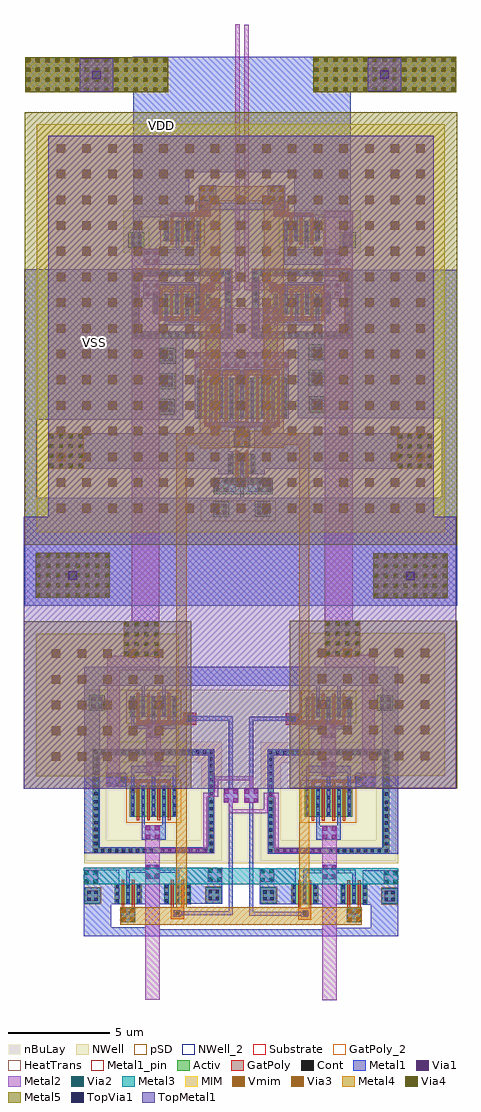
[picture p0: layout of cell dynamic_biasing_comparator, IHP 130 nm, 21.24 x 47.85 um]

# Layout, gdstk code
from math import pi, radians
import gdstk
lib = gdstk.Library(unit=1e-6, precision=1e-09)
def R(c, l, rs):  # rectangles x0, y0, x1, y1
    for r in rs: c.add(gdstk.rectangle(r[:2], r[2:], *l))
def A(c, l, x, y, w, h, nx, ny, dx, dy):  # array of equal rectangles
    R(c, l, [(x+i*dx, y+j*dy, x+i*dx+w, y+j*dy+h) for i in range(nx) for j in range(ny)])
def P(c, l, *ps):  # polygons
    for p in ps: c.add(gdstk.Polygon(p, *l))
Activ = (1, 0)
GatPoly = (5, 0)
GatPoly_2 = (5, 2)
Cont = (6, 0)
Metal1 = (8, 0)
Metal1_pin = (8, 2)
Metal2 = (10, 0)
pSD = (14, 0)
Via1 = (19, 0)
Via2 = (29, 0)
Metal3 = (30, 0)
NWell = (31, 0)
NWell_2 = (31, 2)
nBuLay = (32, 0)
MIM = (36, 0)
Substrate = (40, 0)
Via3 = (49, 0)
Metal4 = (50, 0)
HeatTrans = (51, 0)
Via4 = (66, 0)
Metal5 = (67, 0)
TopVia1 = (125, 0)
TopMetal1 = (126, 0)
Vmim = (129, 0)

cmim = lib.new_cell('cmim')
R(cmim, MIM, [(0,0,20,20)])
R(cmim, Metal5, [(-0.6,-0.6,20.6,20.6)])
R(cmim, TopMetal1, [(0.55,0.55,19.45,19.45)])
A(cmim, Vmim, 0.97, 0.97, 0.42, 0.42, 15, 15, 1.26, 1.26)

nmos_4 = lib.new_cell('nmos$4')
A(nmos_4, Activ, 0, 0, 0.3, 0.3, 9, 1, 0.51, 0)
R(nmos_4, Activ, [(0,0,4.38,2)])
A(nmos_4, GatPoly, 0.34, -0.18, 0.13, 2.36, 8, 1, 0.51, 0)
R(nmos_4, GatPoly_2, [(0.34,-0.18,0.47,2.18)])
A(nmos_4, Cont, 0.07, 0.07, 0.16, 0.16, 9, 6, 0.51, 0.34)
A(nmos_4, Metal1, 0.07, 0, 0.16, 2, 9, 1, 0.51, 0)
R(nmos_4, Metal1_pin, [(0.07,0,0.23,2), (0.58,0,0.74,2)])
A(nmos_4, HeatTrans, 0.34, -0.18, 0.13, 2.36, 8, 1, 0.51, 0)
nmos_4.add(gdstk.Label('nmos', (0.405,1), layer=63, texttype=0))
nmos_4.add(gdstk.Label('nmos', (0.405,1), layer=51, texttype=0))
nmos_4.add(gdstk.Label('nmos', (0.915,1), layer=51, texttype=0))
nmos_4.add(gdstk.Label('nmos', (1.425,1), layer=51, texttype=0))
nmos_4.add(gdstk.Label('nmos', (1.935,1), layer=51, texttype=0))
nmos_4.add(gdstk.Label('nmos', (2.445,1), layer=51, texttype=0))
nmos_4.add(gdstk.Label('nmos', (2.955,1), layer=51, texttype=0))
nmos_4.add(gdstk.Label('nmos', (3.465,1), layer=51, texttype=0))
nmos_4.add(gdstk.Label('nmos', (3.975,1), layer=51, texttype=0))

via_stack_14 = lib.new_cell('via_stack$14')
R(via_stack_14, Metal1, [(-0.35,-0.35,0.35,0.35)])
R(via_stack_14, Metal2, [(-0.35,-0.35,0.35,0.35)])
R(via_stack_14, Via1, [(-0.3,-0.3,-0.11,-0.11), (0.11,-0.3,0.3,-0.11), (-0.3,0.11,-0.11,0.3), (0.11,0.11,0.3,0.3)])
R(via_stack_14, Via2, [(-0.3,-0.3,-0.11,-0.11), (0.11,-0.3,0.3,-0.11), (-0.3,0.11,-0.11,0.3), (0.11,0.11,0.3,0.3)])
R(via_stack_14, Metal3, [(-0.35,-0.35,0.35,0.35)])

nmos = lib.new_cell('nmos')
A(nmos, Activ, 0, 0, 0.3, 0.3, 3, 1, 0.51, 0)
R(nmos, Activ, [(0,0,1.32,1)])
R(nmos, GatPoly, [(0.34,-0.18,0.47,1.18), (0.85,-0.18,0.98,1.18)])
R(nmos, GatPoly_2, [(0.34,-0.18,0.47,1.18)])
A(nmos, Cont, 0.07, 0.07, 0.16, 0.16, 3, 3, 0.51, 0.35)
A(nmos, Metal1, 0.07, 0, 0.16, 1, 3, 1, 0.51, 0)
R(nmos, Metal1_pin, [(0.07,0,0.23,1), (0.58,0,0.74,1)])
R(nmos, HeatTrans, [(0.34,-0.18,0.47,1.18), (0.85,-0.18,0.98,1.18)])
nmos.add(gdstk.Label('nmos', (0.405,0.5), layer=63, texttype=0))
nmos.add(gdstk.Label('nmos', (0.405,0.5), layer=51, texttype=0))
nmos.add(gdstk.Label('nmos', (0.915,0.5), layer=51, texttype=0))

via_stack_5 = lib.new_cell('via_stack$5')
R(via_stack_5, Metal1, [(-2.305,-0.385,2.305,0.385)])
R(via_stack_5, Metal2, [(-2.305,-0.385,2.305,0.385)])
A(via_stack_5, Via1, -2.255, -0.335, 0.19, 0.19, 10, 2, 0.48, 0.48)

via_stack_8 = lib.new_cell('via_stack$8')
R(via_stack_8, Metal1, [(-0.35,-0.35,0.35,0.35)])
R(via_stack_8, Metal2, [(-0.35,-0.35,0.35,0.35)])
R(via_stack_8, Via1, [(-0.3,-0.3,-0.11,-0.11), (0.11,-0.3,0.3,-0.11), (-0.3,0.11,-0.11,0.3), (0.11,0.11,0.3,0.3)])
R(via_stack_8, Via2, [(-0.3,-0.3,-0.11,-0.11), (0.11,-0.3,0.3,-0.11), (-0.3,0.11,-0.11,0.3), (0.11,0.11,0.3,0.3)])
R(via_stack_8, Metal3, [(-0.35,-0.35,0.35,0.35)])
R(via_stack_8, Via3, [(-0.3,-0.3,-0.11,-0.11), (0.11,-0.3,0.3,-0.11), (-0.3,0.11,-0.11,0.3), (0.11,0.11,0.3,0.3)])
R(via_stack_8, Metal4, [(-0.35,-0.35,0.35,0.35)])

via_stack = lib.new_cell('via_stack')
R(via_stack, Metal1, [(-0.35,-0.35,0.35,0.35)])
R(via_stack, Metal2, [(-0.35,-0.35,0.35,0.35)])
R(via_stack, Via1, [(-0.3,-0.3,-0.11,-0.11), (0.11,-0.3,0.3,-0.11), (-0.3,0.11,-0.11,0.3), (0.11,0.11,0.3,0.3)])

ntap1 = lib.new_cell('ntap1')
R(ntap1, Activ, [(0,0,0.78,0.78)])
R(ntap1, Cont, [(0.14,0.14,0.3,0.3), (0.48,0.14,0.64,0.3), (0.14,0.48,0.3,0.64), (0.48,0.48,0.64,0.64)])
R(ntap1, Metal1, [(0.14,0.09,0.64,0.69)])
R(ntap1, Metal1_pin, [(0.14,0.09,0.64,0.69), (0.14,0.14,0.64,0.64)])
R(ntap1, NWell, [(-0.24,-0.24,1.02,1.02), (0,0,0.78,0.78)])
R(ntap1, NWell_2, [(0,0,0.78,0.78)])
R(ntap1, nBuLay, [(-0.24,-0.24,1.02,1.02)])
ntap1.add(gdstk.Label('well', (0.39,0.01), layer=63, texttype=0))
ntap1.add(gdstk.Label('well', (0.39,0.01), layer=31, texttype=0))

nmos_3 = lib.new_cell('nmos$3')
A(nmos_3, Activ, 0, 0, 0.3, 0.3, 6, 1, 0.51, 0)
R(nmos_3, Activ, [(-1,-0.88,-0.7,1.88), (3.55,-0.88,3.85,1.88), (0,0,2.85,1), (-1,1.88,3.85,2.18)])
P(nmos_3, Activ, [(-1,-1.18),(-1,1.88),(-0.7,1.88),(-0.7,-0.88),(3.55,-0.88),(3.55,1.88),(-1,1.88),(-1,2.18),(3.85,2.18),(3.85,-1.18)])
A(nmos_3, GatPoly, 0.34, -0.18, 0.13, 1.36, 5, 1, 0.51, 0)
R(nmos_3, GatPoly_2, [(0.34,-0.18,0.47,1.18)])
A(nmos_3, Cont, -0.93, -1.11, 0.16, 0.16, 7, 2, 0.34, 3.06)
A(nmos_3, Cont, 1.58, -1.11, 0.16, 0.16, 7, 2, 0.34, 3.06)
A(nmos_3, Cont, -0.93, -0.77, 0.16, 0.16, 1, 3, 0, 0.34)
A(nmos_3, Cont, 3.62, -0.77, 0.16, 0.16, 1, 3, 0, 0.34)
A(nmos_3, Cont, 0.07, 0.07, 0.16, 0.16, 6, 3, 0.51, 0.35)
A(nmos_3, Cont, -0.93, 0.59, 0.16, 0.16, 1, 4, 0, 0.34)
A(nmos_3, Cont, 3.62, 0.59, 0.16, 0.16, 1, 4, 0, 0.34)
A(nmos_3, Metal1, 0.07, 0, 0.16, 1, 6, 1, 0.51, 0)
R(nmos_3, Metal1, [(-1,-1.18,3.85,-0.88), (-1,-0.88,-0.7,1.88), (3.55,-0.88,3.85,1.88), (-1,1.88,3.85,2.18)])
R(nmos_3, Metal1_pin, [(0.07,0,0.23,1), (0.58,0,0.74,1)])
R(nmos_3, pSD, [(-1.03,-0.85,-0.67,1.85), (3.52,-0.85,3.88,1.85), (-1.03,1.85,3.88,2.21)])
P(nmos_3, pSD, [(-1.03,-1.21),(-1.03,1.85),(-0.67,1.85),(-0.67,-0.85),(3.52,-0.85),(3.52,1.85),(-1.03,1.85),(-1.03,2.21),(3.88,2.21),(3.88,-1.21)])
R(nmos_3, Substrate, [(-1.03,-0.85,-0.67,1.85), (3.52,-0.85,3.88,1.85), (-1.03,1.85,3.88,2.21)])
P(nmos_3, Substrate, [(-1.03,-1.21),(-1.03,1.85),(-0.67,1.85),(-0.67,-0.85),(3.52,-0.85),(3.52,1.85),(-1.03,1.85),(-1.03,2.21),(3.88,2.21),(3.88,-1.21)])
A(nmos_3, HeatTrans, 0.34, -0.18, 0.13, 1.36, 5, 1, 0.51, 0)
nmos_3.add(gdstk.Label('nmos', (0.405,0.5), layer=63, texttype=0))
nmos_3.add(gdstk.Label('sub!', (1.425,-1.03), layer=63, texttype=0))
nmos_3.add(gdstk.Label('nmos', (0.405,0.5), layer=51, texttype=0))
nmos_3.add(gdstk.Label('nmos', (0.915,0.5), layer=51, texttype=0))
nmos_3.add(gdstk.Label('nmos', (1.425,0.5), layer=51, texttype=0))
nmos_3.add(gdstk.Label('nmos', (1.935,0.5), layer=51, texttype=0))
nmos_3.add(gdstk.Label('nmos', (2.445,0.5), layer=51, texttype=0))

via_stack_1 = lib.new_cell('via_stack$1')
R(via_stack_1, Metal1, [(-0.145,-0.145,0.145,0.145)])
R(via_stack_1, Metal2, [(-0.145,-0.145,0.145,0.145)])
R(via_stack_1, Via1, [(-0.095,-0.095,0.095,0.095)])

pmos_4 = lib.new_cell('pmos$4')
A(pmos_4, Activ, 0, 0, 0.3, 0.3, 4, 1, 0.51, 0)
R(pmos_4, Activ, [(0,0,1.83,1)])
A(pmos_4, GatPoly, 0.34, -0.18, 0.13, 1.36, 3, 1, 0.51, 0)
R(pmos_4, GatPoly, [(0.34,-0.18,0.47,1.18)])
A(pmos_4, Cont, 0.07, 0.07, 0.16, 0.16, 4, 3, 0.51, 0.35)
A(pmos_4, Metal1, 0.58, 0, 0.16, 1, 3, 1, 0.51, 0)
R(pmos_4, Metal1, [(0.07,0,0.23,1), (0.07,0,0.23,1), (0.58,0,0.74,1)])
R(pmos_4, pSD, [(-0.18,-0.3,2.01,1.3)])
R(pmos_4, NWell, [(-0.31,-0.31,2.14,1.31)])
R(pmos_4, Substrate, [(1.53,0,1.83,0.3)])
A(pmos_4, HeatTrans, 0.34, -0.18, 0.13, 1.36, 3, 1, 0.51, 0)
pmos_4.add(gdstk.Label('pmos', (0.405,0.5), layer=63, texttype=0))
pmos_4.add(gdstk.Label('pmos', (0.405,0.5), layer=51, texttype=0))
pmos_4.add(gdstk.Label('pmos', (0.915,0.5), layer=51, texttype=0))
pmos_4.add(gdstk.Label('pmos', (1.425,0.5), layer=51, texttype=0))

via_stack_6 = lib.new_cell('via_stack$6')
R(via_stack_6, Metal1, [(-0.865,-0.865,0.865,0.865)])
R(via_stack_6, Metal2, [(-0.865,-0.865,0.865,0.865)])
A(via_stack_6, Via1, -0.815, -0.815, 0.19, 0.19, 4, 4, 0.48, 0.48)
A(via_stack_6, Via2, -0.815, -0.815, 0.19, 0.19, 4, 4, 0.48, 0.48)
R(via_stack_6, Metal3, [(-0.865,-0.865,0.865,0.865)])
A(via_stack_6, Via3, -0.815, -0.815, 0.19, 0.19, 4, 4, 0.48, 0.48)
R(via_stack_6, Metal4, [(-0.865,-0.865,0.865,0.865)])
A(via_stack_6, Via4, -0.815, -0.815, 0.19, 0.19, 4, 4, 0.48, 0.48)
R(via_stack_6, Metal5, [(-0.865,-0.865,0.865,0.865)])

via_stack_10 = lib.new_cell('via_stack$10')
R(via_stack_10, Metal1, [(-3.505,-0.865,3.505,0.865)])
R(via_stack_10, Metal2, [(-3.505,-0.865,3.505,0.865)])
A(via_stack_10, Via1, -3.455, -0.815, 0.19, 0.19, 15, 4, 0.48, 0.48)
A(via_stack_10, Via2, -3.455, -0.815, 0.19, 0.19, 15, 4, 0.48, 0.48)
R(via_stack_10, Metal3, [(-3.505,-0.865,3.505,0.865)])
A(via_stack_10, Via3, -3.455, -0.815, 0.19, 0.19, 15, 4, 0.48, 0.48)
R(via_stack_10, Metal4, [(-3.505,-0.865,3.505,0.865)])
A(via_stack_10, Via4, -3.455, -0.815, 0.19, 0.19, 15, 4, 0.48, 0.48)
R(via_stack_10, Metal5, [(-3.505,-0.865,3.505,0.865), (-0.31,-0.31,0.31,0.31)])
R(via_stack_10, TopVia1, [(-0.21,-0.21,0.21,0.21)])
R(via_stack_10, TopMetal1, [(-0.82,-0.82,0.82,0.82)])

ptap1 = lib.new_cell('ptap1')
R(ptap1, Activ, [(0,0,0.78,0.78)])
R(ptap1, Cont, [(0.14,0.14,0.3,0.3), (0.48,0.14,0.64,0.3), (0.14,0.48,0.3,0.64), (0.48,0.48,0.64,0.64)])
R(ptap1, Metal1, [(0.14,0.09,0.64,0.69), (0.14,0.14,0.64,0.64)])
R(ptap1, Metal1_pin, [(0.14,0.14,0.64,0.64)])
R(ptap1, pSD, [(-0.03,-0.03,0.81,0.81)])
R(ptap1, Substrate, [(0,0,0.78,0.78)])
ptap1.add(gdstk.Label('sub!', (0.39,0.01), layer=63, texttype=0))
ptap1.add(gdstk.Label('sub!', (0.39,0.01), layer=40, texttype=0))

pmos_6 = lib.new_cell('pmos$6')
A(pmos_6, Activ, 0, 0, 0.3, 0.3, 5, 1, 0.51, 0)
R(pmos_6, Activ, [(-1.81,-1.51,-1.51,3.01), (3.85,-1.51,4.15,3.01), (0,0,2.34,1.5), (-1.81,3.01,4.15,3.31)])
P(pmos_6, Activ, [(-1.81,-1.81),(-1.81,3.01),(-1.51,3.01),(-1.51,-1.51),(3.85,-1.51),(3.85,3.01),(-1.81,3.01),(-1.81,3.31),(4.15,3.31),(4.15,-1.81)])
A(pmos_6, GatPoly, 0.34, -0.18, 0.13, 1.86, 4, 1, 0.51, 0)
R(pmos_6, GatPoly, [(0.34,-0.18,0.47,1.68)])
A(pmos_6, Cont, -1.74, -1.74, 0.16, 0.16, 8, 2, 0.34, 4.82)
A(pmos_6, Cont, 1.2, -1.74, 0.16, 0.16, 9, 2, 0.34, 4.82)
A(pmos_6, Cont, -1.74, -1.4, 0.16, 0.16, 1, 6, 0, 0.34)
A(pmos_6, Cont, 3.92, -1.4, 0.16, 0.16, 1, 6, 0, 0.34)
A(pmos_6, Cont, 0.07, 0.07, 0.16, 0.16, 5, 4, 0.51, 0.4)
A(pmos_6, Cont, -1.74, 0.7, 0.16, 0.16, 1, 7, 0, 0.34)
A(pmos_6, Cont, 3.92, 0.7, 0.16, 0.16, 1, 7, 0, 0.34)
A(pmos_6, Metal1, 0.58, 0, 0.16, 1.5, 4, 1, 0.51, 0)
R(pmos_6, Metal1, [(-1.81,-1.81,4.15,-1.51), (-1.81,-1.51,-1.51,3.01), (3.85,-1.51,4.15,3.01), (0.07,0,0.23,1.5), (0.07,0,0.23,1.5), (0.58,0,0.74,1.5), (-1.81,3.01,4.15,3.31)])
R(pmos_6, pSD, [(-0.18,-0.3,2.52,1.8)])
R(pmos_6, NWell, [(-2.05,-2.05,4.39,3.55), (-0.31,-0.31,2.65,1.81)])
R(pmos_6, nBuLay, [(-2.16,-1.16,-1.16,2.66), (3.5,-1.16,4.5,2.66), (-2.16,2.66,4.5,3.66)])
P(pmos_6, nBuLay, [(-2.16,-2.16),(-2.16,2.66),(-1.16,2.66),(-1.16,-1.16),(3.5,-1.16),(3.5,2.66),(-2.16,2.66),(-2.16,3.66),(4.5,3.66),(4.5,-2.16)])
R(pmos_6, Substrate, [(2.04,0,2.34,0.3)])
A(pmos_6, HeatTrans, 0.34, -0.18, 0.13, 1.86, 4, 1, 0.51, 0)
pmos_6.add(gdstk.Label('pmos', (0.405,0.75), layer=63, texttype=0))
pmos_6.add(gdstk.Label('well', (1.17,-1.66), layer=63, texttype=0))
pmos_6.add(gdstk.Label('pmos', (0.405,0.75), layer=51, texttype=0))
pmos_6.add(gdstk.Label('pmos', (0.915,0.75), layer=51, texttype=0))
pmos_6.add(gdstk.Label('pmos', (1.425,0.75), layer=51, texttype=0))
pmos_6.add(gdstk.Label('pmos', (1.935,0.75), layer=51, texttype=0))

via_stack_13 = lib.new_cell('via_stack$13')
R(via_stack_13, Metal2, [(-0.865,-0.865,0.865,0.865)])
A(via_stack_13, Via2, -0.815, -0.815, 0.19, 0.19, 4, 4, 0.48, 0.48)
R(via_stack_13, Metal3, [(-0.865,-0.865,0.865,0.865)])
A(via_stack_13, Via3, -0.815, -0.815, 0.19, 0.19, 4, 4, 0.48, 0.48)
R(via_stack_13, Metal4, [(-0.865,-0.865,0.865,0.865)])
A(via_stack_13, Via4, -0.815, -0.815, 0.19, 0.19, 4, 4, 0.48, 0.48)
R(via_stack_13, Metal5, [(-0.865,-0.865,0.865,0.865)])

pmos = lib.new_cell('pmos')
A(pmos, Activ, 0, 0, 0.3, 0.3, 5, 1, 0.51, 0)
R(pmos, Activ, [(0,0,2.34,1)])
A(pmos, GatPoly, 0.34, -0.18, 0.13, 1.36, 4, 1, 0.51, 0)
R(pmos, GatPoly, [(0.34,-0.18,0.47,1.18)])
A(pmos, Cont, 0.07, 0.07, 0.16, 0.16, 5, 3, 0.51, 0.35)
A(pmos, Metal1, 0.58, 0, 0.16, 1, 4, 1, 0.51, 0)
R(pmos, Metal1, [(0.07,0,0.23,1), (0.07,0,0.23,1), (0.58,0,0.74,1)])
R(pmos, pSD, [(-0.18,-0.3,2.52,1.3)])
R(pmos, NWell, [(-0.31,-0.31,2.65,1.31)])
R(pmos, Substrate, [(2.04,0,2.34,0.3)])
A(pmos, HeatTrans, 0.34, -0.18, 0.13, 1.36, 4, 1, 0.51, 0)
pmos.add(gdstk.Label('pmos', (0.405,0.5), layer=63, texttype=0))
pmos.add(gdstk.Label('pmos', (0.405,0.5), layer=51, texttype=0))
pmos.add(gdstk.Label('pmos', (0.915,0.5), layer=51, texttype=0))
pmos.add(gdstk.Label('pmos', (1.425,0.5), layer=51, texttype=0))
pmos.add(gdstk.Label('pmos', (1.935,0.5), layer=51, texttype=0))

cmim_1 = lib.new_cell('cmim$1')
R(cmim_1, MIM, [(0,0,7,7)])
R(cmim_1, Metal5, [(-0.6,-0.6,7.6,7.6)])
R(cmim_1, TopMetal1, [(0.35,0.35,6.65,6.65)])
A(cmim_1, Vmim, 0.77, 0.77, 0.42, 0.42, 5, 5, 1.26, 1.26)

nmos_7 = lib.new_cell('nmos$7')
A(nmos_7, Activ, 0, 0, 0.3, 0.3, 3, 1, 0.51, 0)
R(nmos_7, Activ, [(0,0,1.32,1)])
R(nmos_7, GatPoly, [(0.34,-0.18,0.47,1.18), (0.85,-0.18,0.98,1.18)])
R(nmos_7, GatPoly_2, [(0.34,-0.18,0.47,1.18)])
A(nmos_7, Cont, 0.07, 0.07, 0.16, 0.16, 3, 3, 0.51, 0.35)
A(nmos_7, Metal1, 0.07, 0, 0.16, 1, 3, 1, 0.51, 0)
R(nmos_7, Metal1_pin, [(0.07,0,0.23,1), (0.58,0,0.74,1)])
R(nmos_7, HeatTrans, [(0.34,-0.18,0.47,1.18), (0.85,-0.18,0.98,1.18)])
nmos_7.add(gdstk.Label('nmos', (0.405,0.5), layer=63, texttype=0))
nmos_7.add(gdstk.Label('nmos', (0.405,0.5), layer=51, texttype=0))
nmos_7.add(gdstk.Label('nmos', (0.915,0.5), layer=51, texttype=0))

via_stack_12 = lib.new_cell('via_stack$12')
R(via_stack_12, Metal1, [(-1.825,-1.105,1.825,1.105)])
R(via_stack_12, Metal2, [(-1.825,-1.105,1.825,1.105)])
A(via_stack_12, Via1, -1.775, -1.055, 0.19, 0.19, 8, 5, 0.48, 0.48)
A(via_stack_12, Via2, -1.775, -1.055, 0.19, 0.19, 8, 5, 0.48, 0.48)
R(via_stack_12, Metal3, [(-1.825,-1.105,1.825,1.105)])
A(via_stack_12, Via3, -1.775, -1.055, 0.19, 0.19, 8, 5, 0.48, 0.48)
R(via_stack_12, Metal4, [(-1.825,-1.105,1.825,1.105)])
A(via_stack_12, Via4, -1.775, -1.055, 0.19, 0.19, 8, 5, 0.48, 0.48)
R(via_stack_12, Metal5, [(-1.825,-1.105,1.825,1.105), (-0.31,-0.31,0.31,0.31)])
R(via_stack_12, TopVia1, [(-0.21,-0.21,0.21,0.21)])
R(via_stack_12, TopMetal1, [(-0.82,-0.82,0.82,0.82)])

dynamic_biasing_comparat = lib.new_cell('dynamic_biasing_comparator')
R(dynamic_biasing_comparat, GatPoly, [(19.835,-13.15,20.475,-12.57), (13.6,-13.135,14.24,-12.555), (22.255,-13.135,22.895,-12.555), (11.18,-13.12,11.82,-12.54), (19.235,-3.605,19.875,-3.025), (19.86,-3.605,22.155,-3.405), (11.92,-3.59,14.215,-3.39), (14.2,-3.59,14.84,-3.01), (16.365,8.17,16.89,8.5), (17.27,8.17,17.995,8.5), (16.93,10.41,17.25,10.73), (15.23,13.545,18.93,13.78), (13.055,16.21,15.225,16.41), (13.055,16.21,15.225,16.41), (13.055,16.21,15.225,16.41), (13.055,16.21,15.225,16.41), (18.935,16.21,21.105,16.41), (18.935,16.21,21.105,16.41), (18.935,16.21,21.105,16.41), (18.935,16.21,21.105,16.41), (13.055,17.62,15.72,18.01), (13.055,17.62,15.72,18.01), (13.055,17.62,15.72,18.01), (13.055,17.62,15.72,18.01), (18.44,17.62,21.105,18.01), (18.44,17.62,21.105,18.01), (18.44,17.62,21.105,18.01), (18.44,17.62,21.105,18.01), (15.4,17.74,15.72,18.06), (15.4,17.74,15.72,18.06), (15.4,17.74,15.72,18.06), (15.4,17.74,15.72,18.06), (18.44,17.74,18.76,18.06), (18.44,17.74,18.76,18.06), (18.44,17.74,18.76,18.06), (18.44,17.74,18.76,18.06), (13.595,21.3,15.515,21.51), (14.785,21.3,15.515,22.05), (18.645,21.3,20.565,21.51), (18.645,21.3,19.375,22.05), (14.965,21.66,15.285,21.98), (15.125,21.66,15.445,21.98), (18.89,21.66,19.21,21.98)])
P(dynamic_biasing_comparat, GatPoly, [(11.04,-6.415),(11.04,-6.1),(11.475,-6.1),(11.475,-6.275),(13.58,-6.275),(13.58,-6.415)],
  [(20.495,-6.43),(20.495,-6.29),(22.6,-6.29),(22.6,-6.115),(23.035,-6.115),(23.035,-6.43)],
  [(16.76,10.31),(16.76,11.005),(15.225,11.005),(15.225,11.24),(16.76,11.24),(16.76,11.285),(17.4,11.285),(17.4,11.24),(18.93,11.24),(18.93,11.005),(17.4,11.005),(17.4,10.31)])
R(dynamic_biasing_comparat, Cont, [(20.075,-12.93,20.235,-12.77), (13.84,-12.915,14,-12.755), (22.495,-12.915,22.655,-12.755), (11.42,-12.9,11.58,-12.74), (22.755,-6.345,22.915,-6.185), (11.16,-6.33,11.32,-6.17), (19.475,-3.385,19.635,-3.225), (14.44,-3.37,14.6,-3.21), (16.5,8.27,16.66,8.43), (17.51,8.27,17.67,8.43), (17.01,10.49,17.17,10.65), (17.01,10.49,17.17,10.65), (17.01,10.49,17.17,10.65), (17.01,10.49,17.17,10.65), (15.48,17.82,15.64,17.98), (15.48,17.82,15.64,17.98), (15.48,17.82,15.64,17.98), (15.48,17.82,15.64,17.98), (18.52,17.82,18.68,17.98), (18.52,17.82,18.68,17.98), (18.52,17.82,18.68,17.98), (18.52,17.82,18.68,17.98), (15.045,21.74,15.205,21.9), (18.97,21.74,19.13,21.9)])
R(dynamic_biasing_comparat, Metal1, [(22.225,-13.285,22.925,-12.585), (11.15,-13.27,11.85,-12.57), (23.005,-12.41,24.74,-10.725), (20.58,-12.4,22.145,-11.4), (9.335,-12.395,11.07,-10.71), (17.96,-12.39,19.725,-10.625), (11.93,-12.385,13.495,-11.385), (14.35,-12.375,16.115,-10.61), (22.665,-6.66,23.64,-5.96), (10.435,-6.645,11.41,-5.945), (15.68,7.795,16.78,8.5), (17.365,7.795,18.585,8.5), (7.585,8.965,16.015,10.695), (16.67,10.005,17.485,10.78), (14.315,16.07,14.475,16.71), (14.315,16.07,14.475,16.71), (14.315,16.07,14.475,16.71), (14.315,16.07,14.475,16.71), (19.685,16.07,19.845,16.71), (19.685,16.07,19.845,16.71), (19.685,16.07,19.845,16.71), (19.685,16.07,19.845,16.71), (15.335,16.075,15.495,16.715), (15.335,16.075,15.495,16.715), (15.335,16.075,15.495,16.715), (15.335,16.075,15.495,16.715), (18.665,16.075,18.825,16.715), (18.665,16.075,18.825,16.715), (18.665,16.075,18.825,16.715), (18.665,16.075,18.825,16.715), (15.275,16.11,16.065,16.875), (15.275,16.11,16.065,16.875), (15.275,16.11,16.065,16.875), (15.275,16.11,16.065,16.875), (18.095,16.11,18.885,16.875), (18.095,16.11,18.885,16.875), (18.095,16.11,18.885,16.875), (18.095,16.11,18.885,16.875), (12.235,17.28,13.045,18.185), (12.235,17.28,13.045,18.185), (12.235,17.28,13.045,18.185), (12.235,17.28,13.045,18.185), (21.115,17.28,21.925,18.185), (21.115,17.28,21.925,18.185), (21.115,17.28,21.925,18.185), (21.115,17.28,21.925,18.185), (13.805,17.44,13.965,18.08), (13.805,17.44,13.965,18.08), (13.805,17.44,13.965,18.08), (13.805,17.44,13.965,18.08), (20.195,17.44,20.355,18.08), (20.195,17.44,20.355,18.08), (20.195,17.44,20.355,18.08), (20.195,17.44,20.355,18.08), (14.825,17.45,14.985,18.09), (14.825,17.45,14.985,18.09), (14.825,17.45,14.985,18.09), (14.825,17.45,14.985,18.09), (19.175,17.45,19.335,18.09), (19.175,17.45,19.335,18.09), (19.175,17.45,19.335,18.09), (19.175,17.45,19.335,18.09), (15.4,17.74,15.72,18.06), (15.4,17.74,15.72,18.06), (15.4,17.74,15.72,18.06), (15.4,17.74,15.72,18.06), (18.44,17.74,18.76,18.06), (18.44,17.74,18.76,18.06), (18.44,17.74,18.76,18.06), (18.44,17.74,18.76,18.06), (13.325,21.12,13.485,21.555), (14.345,21.12,14.505,21.555)])
P(dynamic_biasing_comparat, Metal1, [(11.42,-11.41),(11.42,-10.7),(14,-10.7),(14,-11.4),(13.84,-11.4),(13.84,-10.86),(11.58,-10.86),(11.58,-11.41)],
  [(13.74,-13),(13.74,-12.695),(14.065,-12.695),(14.065,-12.74),(16.44,-12.74),(16.44,-3.39),(14.655,-3.39),(14.655,-3.44),(14.355,-3.44),(14.355,-3.155),(14.655,-3.155),(14.655,-3.19),(16.64,-3.19),(16.64,-12.94),(14.065,-12.94),(14.065,-13)],
  [(22.495,-11.425),(22.495,-10.875),(20.235,-10.875),(20.235,-11.415),(20.075,-11.415),(20.075,-10.715),(22.655,-10.715),(22.655,-11.425)],
  [(20.01,-13.015),(20.01,-12.955),(17.435,-12.955),(17.435,-3.205),(19.42,-3.205),(19.42,-3.17),(19.72,-3.17),(19.72,-3.455),(19.42,-3.455),(19.42,-3.405),(17.635,-3.405),(17.635,-12.755),(20.01,-12.755),(20.01,-12.71),(20.335,-12.71),(20.335,-13.015)],
  [(23.965,-9.92),(23.965,-1.69),(21.915,-1.69),(21.915,-2.295),(21.755,-2.295),(21.755,-1.69),(20.895,-1.69),(20.895,-2.35),(20.735,-2.35),(20.735,-1.69),(13.34,-1.69),(13.34,-2.335),(13.18,-2.335),(13.18,-1.69),(12.32,-1.69),(12.32,-2.28),(12.16,-2.28),(12.16,-1.69),(10.11,-1.69),(10.11,-9.905),(9.34,-9.905),(9.34,-0.75),(24.735,-0.75),(24.735,-9.92)],
  [(9.335,-13.965),(9.335,-11.84),(10.675,-11.84),(10.675,-13.525),(12.35,-13.525),(12.35,-12.37),(13.05,-12.37),(13.05,-13.625),(21.025,-13.625),(21.025,-12.385),(21.725,-12.385),(21.725,-13.54),(23.4,-13.54),(23.4,-11.855),(24.74,-11.855),(24.74,-13.965)],
  [(13.69,-6.805),(13.69,-5.935),(13.11,-5.935),(13.11,-6.12),(12.83,-6.12),(12.83,-6.62),(12.67,-6.62),(12.67,-6.12),(12.395,-6.12),(12.395,-5.945),(11.81,-5.945),(11.81,-6.595),(11.65,-6.595),(11.65,-5.595),(12.395,-5.595),(12.395,-5.415),(13.11,-5.415),(13.11,-5.595),(13.85,-5.595),(13.85,-6.805)],
  [(12.16,-9.225),(12.16,-8.095),(12.32,-8.095),(12.32,-8.525),(13.18,-8.525),(13.18,-8.005),(13.34,-8.005),(13.34,-9.225)],
  [(12.4,-4.23),(12.4,-3.79),(11.65,-3.79),(11.65,-3.155),(11.81,-3.155),(11.81,-3.63),(12.4,-3.63),(12.4,-3.515),(12.67,-3.515),(12.67,-3.19),(12.83,-3.19),(12.83,-3.515),(13.105,-3.515),(13.105,-3.63),(13.69,-3.63),(13.69,-3.075),(13.85,-3.075),(13.85,-3.79),(13.105,-3.79),(13.105,-4.23)],
  [(20.225,-6.82),(20.225,-5.61),(20.965,-5.61),(20.965,-5.43),(21.68,-5.43),(21.68,-5.61),(22.425,-5.61),(22.425,-6.61),(22.265,-6.61),(22.265,-5.96),(21.68,-5.96),(21.68,-6.135),(21.405,-6.135),(21.405,-6.635),(21.245,-6.635),(21.245,-6.135),(20.965,-6.135),(20.965,-5.95),(20.385,-5.95),(20.385,-6.82)],
  [(20.735,-9.24),(20.735,-8.02),(20.895,-8.02),(20.895,-8.54),(21.755,-8.54),(21.755,-8.11),(21.915,-8.11),(21.915,-9.24)],
  [(20.97,-4.245),(20.97,-3.805),(20.225,-3.805),(20.225,-3.09),(20.385,-3.09),(20.385,-3.645),(20.97,-3.645),(20.97,-3.53),(21.245,-3.53),(21.245,-3.205),(21.405,-3.205),(21.405,-3.53),(21.675,-3.53),(21.675,-3.645),(22.265,-3.645),(22.265,-3.17),(22.425,-3.17),(22.425,-3.805),(21.675,-3.805),(21.675,-4.245)],
  [(15.92,8.68),(15.92,10.975),(15.47,10.975),(15.47,11.415),(15.63,11.415),(15.63,11.225),(16.49,11.225),(16.49,11.415),(16.65,11.415),(16.65,11.225),(17.51,11.225),(17.51,11.415),(17.67,11.415),(17.67,11.225),(18.53,11.225),(18.53,11.415),(18.69,11.415),(18.69,10.975),(18.2,10.975),(18.2,10.685),(26.42,10.685),(26.42,8.955),(18.2,8.955),(18.2,8.68),(17.625,8.68),(17.625,9.625),(17.505,9.625),(17.505,9.805),(17.685,9.805),(17.685,10.975),(16.47,10.975),(16.47,9.805),(16.645,9.805),(16.645,9.625),(16.52,9.625),(16.52,8.68)],
  [(6.43,2.245),(6.43,5.64),(6.415,5.64),(6.415,15.36),(6.41,15.36),(6.41,18.74),(11.85,18.74),(11.85,15.685),(14.215,15.685),(14.215,11.36),(7.025,11.36),(7.025,7.53),(17,7.53),(17,8.68),(17.16,8.68),(17.16,7.53),(26.885,7.53),(26.885,11.435),(19.82,11.435),(19.82,15.605),(22.285,15.605),(22.285,18.72),(27.625,18.72),(27.625,15.605),(27.63,15.605),(27.63,11.435),(27.625,11.435),(27.625,2.245)],
  [(11.745,20.47),(11.745,29.15),(14.505,29.15),(19.655,29.15),(22.415,29.15),(22.415,20.47),(22.095,20.47),(22.095,21.28),(20.835,21.28),(20.835,21.12),(20.675,21.12),(20.675,21.3),(19.815,21.3),(19.815,21.12),(19.655,21.12),(19.655,23.49),(14.505,23.49),(14.505,21.12),(14.345,21.12),(14.345,21.3),(13.485,21.3),(13.485,21.12),(13.325,21.12),(13.325,21.28),(12.065,21.28),(12.065,20.47)],
  [(12.26,18.95),(12.26,19.705),(13.835,19.705),(13.835,20.13),(13.995,20.13),(13.995,19.705),(14.855,19.705),(14.855,20.205),(15.015,20.205),(15.015,19.545),(15.015,18.95)],
  [(19.145,18.95),(19.145,19.545),(19.145,20.205),(19.305,20.205),(19.305,19.705),(20.165,19.705),(20.165,20.13),(20.325,20.13),(20.325,19.705),(21.9,19.705),(21.9,18.95)],
  [(14.955,21.66),(14.955,22.855),(15.815,22.855),(15.815,21.985),(18.35,21.985),(18.35,22.855),(19.205,22.855),(19.205,21.66)],
  [(14.765,11.415),(14.765,14.675),(19.375,14.675),(19.375,11.415),(19.2,11.415),(19.2,13.39),(19.04,13.39),(19.04,13.805),(18.18,13.805),(18.18,13.39),(18.02,13.39),(18.02,13.805),(17.16,13.805),(17.16,13.39),(17,13.39),(17,13.805),(16.14,13.805),(16.14,13.39),(15.98,13.39),(15.98,13.805),(15.12,13.805),(15.12,13.39),(14.96,13.39),(14.96,11.415)],
  [(13.295,15.995),(13.295,16.715),(13.455,16.715),(13.455,16.155),(15.495,16.155),(15.495,15.995)],
  [(12.785,17.39),(12.785,18.11),(14.985,18.11),(14.985,17.95),(12.945,17.95),(12.945,17.39)],
  [(13.295,15.995),(13.295,16.715),(13.455,16.715),(13.455,16.155),(15.495,16.155),(15.495,15.995)],
  [(12.785,17.39),(12.785,18.11),(14.985,18.11),(14.985,17.95),(12.945,17.95),(12.945,17.39)],
  [(12.785,17.39),(12.785,18.11),(14.985,18.11),(14.985,17.95),(12.945,17.95),(12.945,17.39)],
  [(13.295,15.995),(13.295,16.715),(13.455,16.715),(13.455,16.155),(15.495,16.155),(15.495,15.995)],
  [(18.665,15.995),(18.665,16.155),(20.705,16.155),(20.705,16.715),(20.865,16.715),(20.865,15.995)],
  [(21.215,17.39),(21.215,17.95),(19.175,17.95),(19.175,18.11),(21.375,18.11),(21.375,17.39)],
  [(18.665,15.995),(18.665,16.155),(20.705,16.155),(20.705,16.715),(20.865,16.715),(20.865,15.995)],
  [(21.215,17.39),(21.215,17.95),(19.175,17.95),(19.175,18.11),(21.375,18.11),(21.375,17.39)],
  [(21.215,17.39),(21.215,17.95),(19.175,17.95),(19.175,18.11),(21.375,18.11),(21.375,17.39)],
  [(18.665,15.995),(18.665,16.155),(20.705,16.155),(20.705,16.715),(20.865,16.715),(20.865,15.995)],
  [(21.215,17.39),(21.215,17.95),(19.175,17.95),(19.175,18.11),(21.375,18.11),(21.375,17.39)],
  [(18.665,15.995),(18.665,16.155),(20.705,16.155),(20.705,16.715),(20.865,16.715),(20.865,15.995)],
  [(12.785,17.39),(12.785,18.11),(14.985,18.11),(14.985,17.95),(12.945,17.95),(12.945,17.39)],
  [(13.295,15.995),(13.295,16.715),(13.455,16.715),(13.455,16.155),(15.495,16.155),(15.495,15.995)])
R(dynamic_biasing_comparat, Metal1_pin, [(13.08,25.735,13.21,25.865)])
R(dynamic_biasing_comparat, Metal2, [(20.965,-6.13,21.675,-3.53), (12.4,-6.115,13.11,-3.515), (12.23,17.295,13.02,19.74), (12.23,17.295,13.02,19.74), (12.23,17.295,13.02,19.74), (21.14,17.295,21.93,19.74), (21.14,17.295,21.93,19.74), (21.14,17.295,21.93,19.74), (15.365,17.71,16.975,18.09), (16.745,18.03,16.975,30.76), (17.185,18.03,17.415,30.72)])
P(dynamic_biasing_comparat, Metal2, [(12.35,-17.075),(12.35,-8.525),(13.05,-8.525),(13.05,-9.655),(14.82,-9.655),(14.82,-9.855),(13.05,-9.855),(13.05,-17.075)],
  [(21.025,-17.09),(21.025,-9.86),(19.255,-9.86),(19.255,-9.66),(21.025,-9.66),(21.025,-8.54),(21.725,-8.54),(21.725,-17.09)],
  [(16.44,-7.94),(16.44,-6.965),(16.64,-6.965),(16.64,-7.74),(18.145,-7.74),(18.145,-6.93),(18.455,-6.93),(18.455,-7.13),(18.345,-7.13),(18.345,-7.94)],
  [(15.62,-7.125),(15.62,-6.925),(15.73,-6.925),(15.73,-6.115),(17.635,-6.115),(17.635,-7.08),(17.435,-7.08),(17.435,-6.315),(15.93,-6.315),(15.93,-7.125)],
  [(10.485,-6.295),(10.485,-0.205),(11.685,-0.205),(11.685,19.74),(13.02,19.74),(13.02,-0.915),(11.085,-0.915),(11.085,-6.295)],
  [(22.99,-6.32),(22.99,-0.795),(21.145,-0.795),(21.145,21.57),(22.51,21.57),(22.51,-0.165),(23.59,-0.165),(23.59,-6.32)],
  [(17.185,17.71),(17.185,17.98),(17.185,18.09),(18.79,18.09),(18.79,17.71)],
  [(15.315,14.575),(15.315,16.83),(15.325,16.83),(15.325,16.835),(18.835,16.835),(18.835,16.135),(18.83,16.135),(18.83,14.575)])
R(dynamic_biasing_comparat, pSD, [(15.05,6.385,18.735,7.415), (12.995,11.575,13.87,15.54), (20.325,11.685,21.17,15.535)])
R(dynamic_biasing_comparat, Metal3, [(15.695,7.7,18.585,8.525)])
P(dynamic_biasing_comparat, Metal3, [(17.96,-11.425),(17.96,-11.41),(9.335,-11.41),(9.335,-10.61),(16.115,-10.61),(16.115,-10.625),(24.74,-10.625),(24.74,-11.425)])
R(dynamic_biasing_comparat, NWell, [(17.955,-10.395,24.735,-1.9), (9.34,-10.38,18.23,-1.885), (11.265,19.535,22.895,21.635)])
R(dynamic_biasing_comparat, nBuLay, [(9.34,-5.435,10.595,-3.14)])
P(dynamic_biasing_comparat, nBuLay, [(23.535,-5.45),(23.535,-3.465),(23.475,-3.465),(23.475,-1.89),(24.74,-1.89),(24.74,-5.45)])
R(dynamic_biasing_comparat, Metal4, [(15.02,22.08,19.14,22.8)])
P(dynamic_biasing_comparat, Metal4, [(11.11,-13.39),(11.11,-12.54),(13.865,-12.54),(13.865,10.175),(19.14,10.175),(19.14,9.965),(18.14,9.965),(18.14,9.97),(16.02,9.97),(16.02,9.965),(15.02,9.965),(15.02,10.14),(14.365,10.14),(14.365,-12.54),(19.895,-12.54),(19.895,10.14),(13.865,10.14),(13.865,10.695),(14.72,10.695),(15.02,10.695),(15.02,22.08),(16.02,22.08),(16.02,10.83),(18.14,10.83),(18.14,22.08),(19.14,22.08),(19.14,10.685),(20.39,10.685),(20.39,-12.54),(22.95,-12.54),(22.95,-13.39)])
R(dynamic_biasing_comparat, TopMetal1, [(6.39,-6.725,27.59,6.6)])
dynamic_biasing_comparat.add(gdstk.FlexPath([(14.82,-9.755),(15.285,-9.755),(15.285,-7.025),(15.62,-7.025)], 0.2, ends="flush", simple_path=True, layer=10, datatype=0))  # Metal2
dynamic_biasing_comparat.add(gdstk.FlexPath([(19.255,-9.76),(18.79,-9.76),(18.79,-7.03),(18.455,-7.03)], 0.2, ends="flush", simple_path=True, layer=10, datatype=0))  # Metal2
dynamic_biasing_comparat.add(gdstk.Reference(cmim, (7.025,5.84)))
dynamic_biasing_comparat.add(gdstk.Reference(nmos_4, (14.89,11.415)))
dynamic_biasing_comparat.add(gdstk.Reference(via_stack_14, (18.19,8.145), rotation=pi))
dynamic_biasing_comparat.add(gdstk.Reference(nmos, (16.42,8.68)))
dynamic_biasing_comparat.add(gdstk.Reference(via_stack_14, (16.085,8.145), rotation=pi))
dynamic_biasing_comparat.add(gdstk.Reference(via_stack_5, (17.07,14.29), rotation=pi))
dynamic_biasing_comparat.add(gdstk.Reference(via_stack_8, (17.09,10.385), rotation=pi))
dynamic_biasing_comparat.add(gdstk.Reference(via_stack, (21.515,19.325), x_reflection=True))
dynamic_biasing_comparat.add(gdstk.Reference(ntap1, (21.875,20.56), x_reflection=True))
dynamic_biasing_comparat.add(gdstk.Reference(via_stack, (21.515,17.735), x_reflection=True))
dynamic_biasing_comparat.add(gdstk.Reference(via_stack, (21.515,17.735), x_reflection=True))
dynamic_biasing_comparat.add(gdstk.Reference(ntap1, (21.875,20.56), x_reflection=True))
dynamic_biasing_comparat.add(gdstk.Reference(nmos_3, (21.445,16.54), rotation=pi, x_reflection=True))
dynamic_biasing_comparat.add(gdstk.Reference(nmos_3, (21.445,16.54), rotation=pi, x_reflection=True))
dynamic_biasing_comparat.add(gdstk.Reference(via_stack, (21.515,17.735), x_reflection=True))
dynamic_biasing_comparat.add(gdstk.Reference(ntap1, (21.875,20.56), x_reflection=True))
dynamic_biasing_comparat.add(gdstk.Reference(via_stack, (21.515,19.325), x_reflection=True))
dynamic_biasing_comparat.add(gdstk.Reference(via_stack, (21.515,19.325), x_reflection=True))
dynamic_biasing_comparat.add(gdstk.Reference(ntap1, (21.875,20.56), x_reflection=True))
dynamic_biasing_comparat.add(gdstk.Reference(via_stack, (21.515,17.735), x_reflection=True))
dynamic_biasing_comparat.add(gdstk.Reference(nmos_3, (21.445,16.54), rotation=pi, x_reflection=True))
dynamic_biasing_comparat.add(gdstk.Reference(nmos_3, (21.445,16.54), rotation=pi, x_reflection=True))
dynamic_biasing_comparat.add(gdstk.Reference(via_stack, (18.485,16.485), x_reflection=True))
dynamic_biasing_comparat.add(gdstk.Reference(via_stack_1, (18.6,17.905), x_reflection=True))
dynamic_biasing_comparat.add(gdstk.Reference(pmos_4, (20.905,20.12), rotation=pi, x_reflection=True))
dynamic_biasing_comparat.add(gdstk.Reference(via_stack, (21.515,19.325), x_reflection=True))
dynamic_biasing_comparat.add(gdstk.Reference(pmos_4, (20.905,20.12), rotation=pi, x_reflection=True))
dynamic_biasing_comparat.add(gdstk.Reference(via_stack_1, (18.6,17.905), x_reflection=True))
dynamic_biasing_comparat.add(gdstk.Reference(via_stack, (18.485,16.485), x_reflection=True))
dynamic_biasing_comparat.add(gdstk.Reference(via_stack_8, (18.79,22.43), rotation=pi))
dynamic_biasing_comparat.add(gdstk.Reference(via_stack, (18.485,16.485), x_reflection=True))
dynamic_biasing_comparat.add(gdstk.Reference(via_stack_1, (18.6,17.905), x_reflection=True))
dynamic_biasing_comparat.add(gdstk.Reference(pmos_4, (20.905,20.12), rotation=pi, x_reflection=True))
dynamic_biasing_comparat.add(gdstk.Reference(pmos_4, (20.905,20.12), rotation=pi, x_reflection=True))
dynamic_biasing_comparat.add(gdstk.Reference(via_stack_1, (18.6,17.905), x_reflection=True))
dynamic_biasing_comparat.add(gdstk.Reference(via_stack, (18.485,16.485), x_reflection=True))
dynamic_biasing_comparat.add(gdstk.Reference(via_stack_6, (25.555,9.82), rotation=pi))
dynamic_biasing_comparat.add(gdstk.Reference(via_stack_10, (24.08,28.285), rotation=pi))
dynamic_biasing_comparat.add(gdstk.Reference(ptap1, (21.15,12.5), rotation=pi))
dynamic_biasing_comparat.add(gdstk.Reference(ptap1, (21.145,13.805), rotation=pi))
dynamic_biasing_comparat.add(gdstk.Reference(ptap1, (21.135,15.055), rotation=pi))
dynamic_biasing_comparat.add(gdstk.Reference(via_stack_1, (15.56,17.905), rotation=pi))
dynamic_biasing_comparat.add(gdstk.Reference(via_stack_8, (15.37,22.45), rotation=pi))
dynamic_biasing_comparat.add(gdstk.Reference(via_stack_1, (15.56,17.905), rotation=pi))
dynamic_biasing_comparat.add(gdstk.Reference(via_stack, (15.675,16.485), rotation=pi))
dynamic_biasing_comparat.add(gdstk.Reference(via_stack, (12.645,17.735), rotation=pi))
dynamic_biasing_comparat.add(gdstk.Reference(ntap1, (12.285,20.56), rotation=pi))
dynamic_biasing_comparat.add(gdstk.Reference(nmos_3, (12.715,16.54)))
dynamic_biasing_comparat.add(gdstk.Reference(via_stack, (12.645,17.735), rotation=pi))
dynamic_biasing_comparat.add(gdstk.Reference(via_stack, (15.675,16.485), rotation=pi))
dynamic_biasing_comparat.add(gdstk.Reference(ntap1, (12.285,20.56), rotation=pi))
dynamic_biasing_comparat.add(gdstk.Reference(via_stack_1, (15.56,17.905), rotation=pi))
dynamic_biasing_comparat.add(gdstk.Reference(nmos_3, (12.715,16.54)))
dynamic_biasing_comparat.add(gdstk.Reference(via_stack, (12.645,17.735), rotation=pi))
dynamic_biasing_comparat.add(gdstk.Reference(via_stack, (15.675,16.485), rotation=pi))
dynamic_biasing_comparat.add(gdstk.Reference(pmos_4, (13.255,20.12)))
dynamic_biasing_comparat.add(gdstk.Reference(via_stack_1, (15.56,17.905), rotation=pi))
dynamic_biasing_comparat.add(gdstk.Reference(via_stack, (12.645,19.325), rotation=pi))
dynamic_biasing_comparat.add(gdstk.Reference(ntap1, (12.285,20.56), rotation=pi))
dynamic_biasing_comparat.add(gdstk.Reference(pmos_4, (13.255,20.12)))
dynamic_biasing_comparat.add(gdstk.Reference(via_stack, (12.645,19.325), rotation=pi))
dynamic_biasing_comparat.add(gdstk.Reference(via_stack, (12.645,19.325), rotation=pi))
dynamic_biasing_comparat.add(gdstk.Reference(pmos_4, (13.255,20.12)))
dynamic_biasing_comparat.add(gdstk.Reference(via_stack, (12.645,19.325), rotation=pi))
dynamic_biasing_comparat.add(gdstk.Reference(pmos_4, (13.255,20.12)))
dynamic_biasing_comparat.add(gdstk.Reference(via_stack_6, (8.45,9.83), rotation=pi))
dynamic_biasing_comparat.add(gdstk.Reference(via_stack, (15.675,16.485), rotation=pi))
dynamic_biasing_comparat.add(gdstk.Reference(via_stack, (12.645,17.735), rotation=pi))
dynamic_biasing_comparat.add(gdstk.Reference(via_stack_10, (9.955,28.27), rotation=pi))
dynamic_biasing_comparat.add(gdstk.Reference(ptap1, (13.825,14.88), rotation=pi))
dynamic_biasing_comparat.add(gdstk.Reference(ptap1, (13.8,13.645), rotation=pi))
dynamic_biasing_comparat.add(gdstk.Reference(ptap1, (13.795,12.38), rotation=pi))
dynamic_biasing_comparat.add(gdstk.Reference(nmos_3, (12.715,16.54)))
dynamic_biasing_comparat.add(gdstk.Reference(nmos_3, (12.715,16.54)))
dynamic_biasing_comparat.add(gdstk.Reference(ntap1, (12.285,20.56), rotation=pi))
dynamic_biasing_comparat.add(gdstk.Reference(via_stack, (12.755,-3.88), rotation=pi))
dynamic_biasing_comparat.add(gdstk.Reference(pmos_6, (13.92,-6.595), rotation=pi))
dynamic_biasing_comparat.add(gdstk.Reference(via_stack_13, (12.155,0.605), rotation=pi))
dynamic_biasing_comparat.add(gdstk.Reference(ntap1, (10.36,-2.125), rotation=pi))
dynamic_biasing_comparat.add(gdstk.Reference(ptap1, (16.46,7.365), rotation=pi))
dynamic_biasing_comparat.add(gdstk.Reference(pmos, (13.92,-2.21), rotation=pi))
dynamic_biasing_comparat.add(gdstk.Reference(ptap1, (16.085,-11.555), rotation=pi))
dynamic_biasing_comparat.add(gdstk.Reference(cmim_1, (6.99,-6.13)))
dynamic_biasing_comparat.add(gdstk.Reference(nmos_7, (12.16,-11.385), rotation=pi))
dynamic_biasing_comparat.add(gdstk.Reference(ptap1, (10.145,-11.585), rotation=pi))
dynamic_biasing_comparat.add(gdstk.Reference(via_stack_12, (8.785,3.725), rotation=pi))
dynamic_biasing_comparat.add(gdstk.Reference(nmos_7, (14.58,-11.385), rotation=pi))
dynamic_biasing_comparat.add(gdstk.Reference(via_stack, (10.785,-6.295), rotation=pi))
dynamic_biasing_comparat.add(gdstk.Reference(via_stack, (12.76,-5.77), rotation=pi))
dynamic_biasing_comparat.add(gdstk.Reference(via_stack, (12.7,-8.875), rotation=pi))
dynamic_biasing_comparat.add(gdstk.Reference(via_stack_8, (11.5,-12.92), rotation=pi))
dynamic_biasing_comparat.add(gdstk.Reference(via_stack_14, (9.685,-11.06), rotation=pi))
dynamic_biasing_comparat.add(gdstk.Reference(via_stack_14, (15.765,-10.96), rotation=pi))
dynamic_biasing_comparat.add(gdstk.Reference(via_stack, (12.7,-10.8), rotation=pi))
dynamic_biasing_comparat.add(gdstk.Reference(via_stack, (16.55,-7.08), rotation=pi))
dynamic_biasing_comparat.add(gdstk.Reference(ptap1, (18.48,7.37), rotation=pi))
dynamic_biasing_comparat.add(gdstk.Reference(via_stack_12, (25.34,3.705), rotation=pi))
dynamic_biasing_comparat.add(gdstk.Reference(cmim_1, (20.025,-6.1)))
dynamic_biasing_comparat.add(gdstk.Reference(pmos_6, (20.155,-6.61), x_reflection=True))
dynamic_biasing_comparat.add(gdstk.Reference(pmos, (20.155,-2.225), x_reflection=True))
dynamic_biasing_comparat.add(gdstk.Reference(ptap1, (23.93,-11.6), x_reflection=True))
dynamic_biasing_comparat.add(gdstk.Reference(via_stack, (21.32,-3.895), x_reflection=True))
dynamic_biasing_comparat.add(gdstk.Reference(ptap1, (17.99,-11.57), x_reflection=True))
dynamic_biasing_comparat.add(gdstk.Reference(nmos_7, (21.915,-11.4), x_reflection=True))
dynamic_biasing_comparat.add(gdstk.Reference(nmos_7, (19.495,-11.4), x_reflection=True))
dynamic_biasing_comparat.add(gdstk.Reference(via_stack, (23.29,-6.31), x_reflection=True))
dynamic_biasing_comparat.add(gdstk.Reference(via_stack, (21.315,-5.785), x_reflection=True))
dynamic_biasing_comparat.add(gdstk.Reference(via_stack, (21.375,-8.89), x_reflection=True))
dynamic_biasing_comparat.add(gdstk.Reference(via_stack, (21.375,-10.815), x_reflection=True))
dynamic_biasing_comparat.add(gdstk.Reference(via_stack_8, (22.575,-12.935), x_reflection=True))
dynamic_biasing_comparat.add(gdstk.Reference(via_stack_14, (24.39,-11.075), x_reflection=True))
dynamic_biasing_comparat.add(gdstk.Reference(via_stack_14, (18.31,-10.975), x_reflection=True))
dynamic_biasing_comparat.add(gdstk.Reference(via_stack_13, (22.01,0.635), rotation=pi))
dynamic_biasing_comparat.add(gdstk.Reference(via_stack, (17.54,-7.08), rotation=pi))
dynamic_biasing_comparat.add(gdstk.Reference(ntap1, (24.495,-2.14), rotation=pi))
dynamic_biasing_comparat.add(gdstk.Label('VSS', (9.875,15.135), layer=8, texttype=2))
dynamic_biasing_comparat.add(gdstk.Label('VDD', (13.145,25.8), layer=8, texttype=25))

lib.write_gds('dynamic_biasing_comparator.gds')
